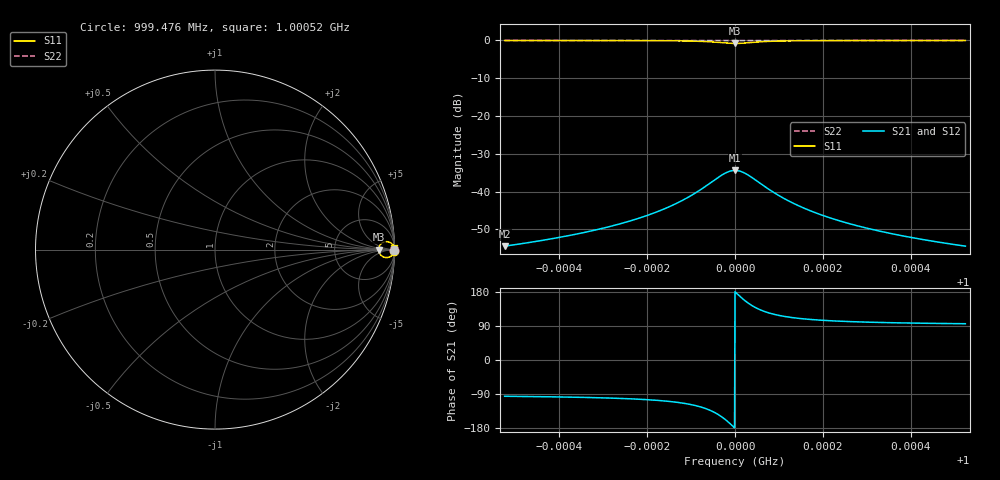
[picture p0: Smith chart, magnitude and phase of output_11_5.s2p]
! File generated for n1 = 11, n2 = 5
! b1 = 0.046416
! b2 = 0.002154
! Q0 = 10000.000000
! f0 = 1000000000.000000
! n = 1001
! rel_span = 10.000000
# Hz S RI R 50
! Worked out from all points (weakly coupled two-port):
!   1001 points, 999.476 MHz to 1.00052 GHz, reference 50 ohm
!   highest |S21| = -34.39 dB at 1 GHz (marker M1); lowest = -54.4 dB at 999.476 MHz (marker M2)
!   lowest |S11| = -0.8 dB at 1 GHz (marker M3), VSWR 21.59, Z = 1.08e+03 + j0 ohm
!   |S11| at or under -10 dB: nowhere
!   |S22| runs from 0.0 to 0.0 dB; largest |S21 - S12| = 0
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9.994757e8  0.9991 -0.00876  -0.000189 -0.00189  -0.000189 -0.00189  1 -0.000407
9.995659e8  0.9987 -0.0105  -0.000274 -0.00227  -0.000274 -0.00227  0.9999 -0.000489
9.996508e8  0.998 -0.013  -0.00042 -0.0028  -0.00042 -0.0028  0.9999 -0.000603
9.997473e8  0.9963 -0.0176  -0.000787 -0.00379  -0.000787 -0.00379  0.9998 -0.000817
9.998259e8  0.9926 -0.0244  -0.00159 -0.00527  -0.00159 -0.00527  0.9997 -0.00113
9.998605e8  0.989 -0.0292  -0.00236 -0.00628  -0.00236 -0.00628  0.9995 -0.00135
9.99892e8  0.9831 -0.0348  -0.00364 -0.00749  -0.00364 -0.00749  0.9992 -0.00161
9.999203e8  0.9733 -0.0406  -0.00576 -0.00876  -0.00576 -0.00876  0.9988 -0.00189
9.999549e8  0.9491 -0.0438  -0.011 -0.00943  -0.011 -0.00943  0.9976 -0.00203
9.999811e8  0.9216 -0.0282  -0.0169 -0.00608  -0.0169 -0.00608  0.9964 -0.00131
1e9  0.9115 0  -0.0191 0  -0.0191 0  0.9959 0
1.000009e9  0.9142 0.0154  -0.0185 0.00333  -0.0185 0.00333  0.996 0.000716
1.00002e9  0.9226 0.0294  -0.0167 0.00633  -0.0167 0.00633  0.9964 0.00136
1.000046e9  0.9501 0.0439  -0.0107 0.00946  -0.0107 0.00946  0.9977 0.00204
1.000081e9  0.9737 0.0404  -0.00566 0.00871  -0.00566 0.00871  0.9988 0.00188
1.000109e9  0.9834 0.0346  -0.00358 0.00745  -0.00358 0.00745  0.9992 0.0016
1.000141e9  0.9892 0.029  -0.00233 0.00625  -0.00233 0.00625  0.9995 0.00135
1.000175e9  0.9927 0.0243  -0.00157 0.00524  -0.00157 0.00524  0.9997 0.00113
1.000254e9  0.9964 0.0175  -0.000781 0.00378  -0.000781 0.00378  0.9998 0.000814
1.00035e9  0.9981 0.013  -0.000418 0.00279  -0.000418 0.00279  0.9999 0.000602
1.000435e9  0.9987 0.0105  -0.000273 0.00227  -0.000273 0.00227  0.9999 0.000488
1.000524e9  0.9991 0.00877  -0.000189 0.00189  -0.000189 0.00189  1 0.000407
